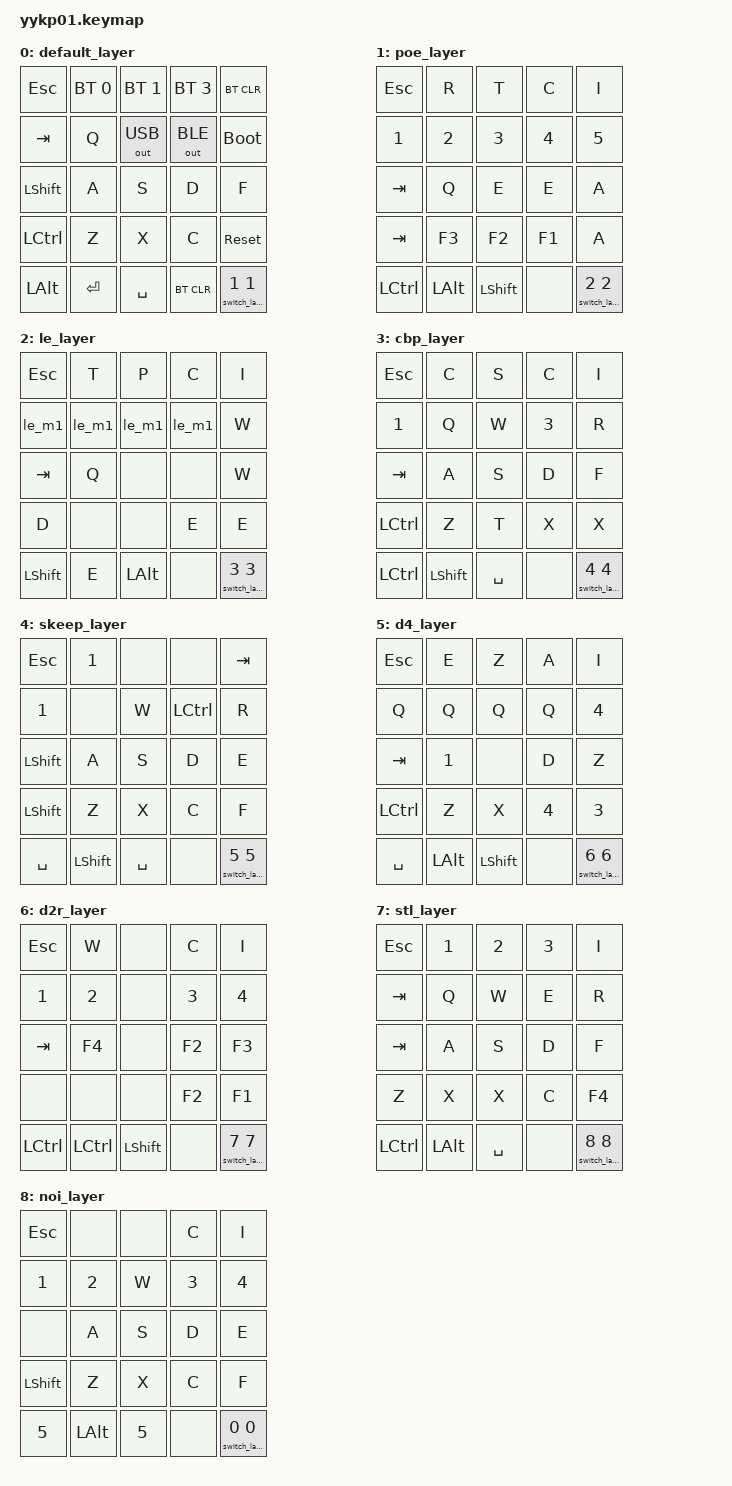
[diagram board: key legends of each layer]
#include <behaviors.dtsi>
#include <dt-bindings/zmk/keys.h>
#include <dt-bindings/zmk/backlight.h>
#include <dt-bindings/zmk/bt.h>
#include <dt-bindings/zmk/ext_power.h>
#include <dt-bindings/zmk/outputs.h>
#include <dt-bindings/zmk/rgb.h>

/ {
    macros {
        layer_name_macro: layer_name_macro {
            label = "LAYER_NAME_MACRO";
            compatible = "zmk,behavior-macro-one-param";
            #binding-cells = <1>; // Number of parameters
            bindings = <&macro_param_1to1 &kp MACRO_PLACEHOLDER>;
        };
        switch_layer: switch_layer {
            label = "SWITCH_LAYER";
            compatible = "zmk,behavior-macro-two-param";
            #binding-cells = <2>; // Number of parameters
            wait-ms = <40>;
            tap-ms = <40>;
            bindings = <
              &macro_param_1to1 &to MACRO_PLACEHOLDER
              &kp LS(A)
              &kp LS(L)
              &macro_param_2to1 &kp MACRO_PLACEHOLDER
              &kp HASH
            >;
        };
        le_m1: le_m1 {
            label = "LE_M1";
            compatible = "zmk,behavior-macro";
            #binding-cells = <0>;
            bindings = <
                &kp R
                &kp N1
            >;  
        };
    };

    keymap {
        compatible = "zmk,keymap";

        default_layer {
            bindings = <
                &kp ESC    &bt BT_SEL 0  &bt BT_SEL 1 &bt BT_SEL 3 &bt BT_CLR
                &kp TAB    &kp Q         &out OUT_USB &out OUT_BLE &bootloader
                &kp LSHFT  &kp A         &kp S        &kp D        &kp F
                &kp LCTRL  &kp Z         &kp X        &kp C        &sys_reset
                &kp LALT   &kp ENTER     &kp SPACE    &bt BT_CLR   &switch_layer 1 N1
            >;
        };

        poe_layer {
            bindings = <
                &kp ESC    &kp R         &kp T        &kp C        &kp I
                &kp N1     &kp N2        &kp N3       &kp N4       &kp N5
                &kp TAB    &kp Q         &kp E        &kp E        &kp A
                &kp TAB    &kp F3        &kp F2       &kp F1       &kp A
                &kp LCTRL  &kp LALT      &kp LSHFT    &none        &switch_layer 2 N2
            >;
        };

        le_layer {
            bindings = <
                &kp ESC    &kp T         &kp P        &kp C        &kp I
                &le_m1     &le_m1        &le_m1       &le_m1       &kp W
                &kp TAB    &kp Q         &none        &none        &kp W
                &kp D      &none         &none        &kp E        &kp E
                &kp LSHFT  &kp E         &kp LALT     &none        &switch_layer 3 N3
            >;
        };

        cbp_layer {
            bindings = <
                &kp ESC    &kp C         &kp S        &kp C        &kp I
                &kp N1     &kp Q         &kp W        &kp N3       &kp R
                &kp TAB    &kp A         &kp S        &kp D        &kp F
                &kp LCTRL  &kp Z         &kp T        &kp X        &kp X
                &kp LCTRL  &kp LSHFT     &kp SPACE    &none        &switch_layer 4 N4
            >;
        };

        skeep_layer {
            bindings = <
                &kp ESC    &kp N1        &none        &none        &kp TAB
                &kp N1     &none         &kp W        &kp LCTRL    &kp R
                &kp LSHFT  &kp A         &kp S        &kp D        &kp E
                &kp LSHFT  &kp Z         &kp X        &kp C        &kp F
                &kp SPACE  &kp LSHFT     &kp SPACE    &none        &switch_layer 5 N5
            >;
        };

        d4_layer {
            bindings = <
                &kp ESC    &kp E         &kp Z        &kp A        &kp I
                &kp Q      &kp Q         &kp Q        &kp Q        &kp N4
                &kp TAB    &kp N1        &none        &kp D        &kp Z
                &kp LCTRL  &kp Z         &kp X        &kp N4       &kp N3
                &kp SPACE  &kp LALT      &kp LSHFT    &none        &switch_layer 6 N6
            >;
        };

        d2r_layer {
            bindings = <
                &kp ESC    &kp W         &none        &kp C        &kp I
                &kp N1     &kp N2        &none        &kp N3       &kp N4
                &kp TAB    &kp F4        &none        &kp F2       &kp F3
                &none      &none         &none        &kp F2       &kp F1
                &kp LCTRL  &kp LCTRL     &kp LSHFT    &none        &switch_layer 7 N7
            >;
        };

        stl_layer {
            bindings = <
                &kp ESC    &kp N1        &kp N2       &kp N3       &kp I
                &kp TAB    &kp Q         &kp W        &kp E        &kp R
                &kp TAB    &kp A         &kp S        &kp D        &kp F
                &kp Z      &kp X         &kp X        &kp C        &kp F4
                &kp LCTRL  &kp LALT      &kp SPACE    &none        &switch_layer 8 N8
            >;
        };

        noi_layer {
            bindings = <
                &kp ESC    &none         &none        &kp C        &kp I
                &kp N1     &kp N2        &kp W        &kp N3       &kp N4
                &none      &kp A         &kp S        &kp D        &kp E
                &kp LSHFT  &kp Z         &kp X        &kp C        &kp F
                &kp N5     &kp LALT      &kp N5       &none        &switch_layer 0 N0
            >;
        };

    };
    
};
